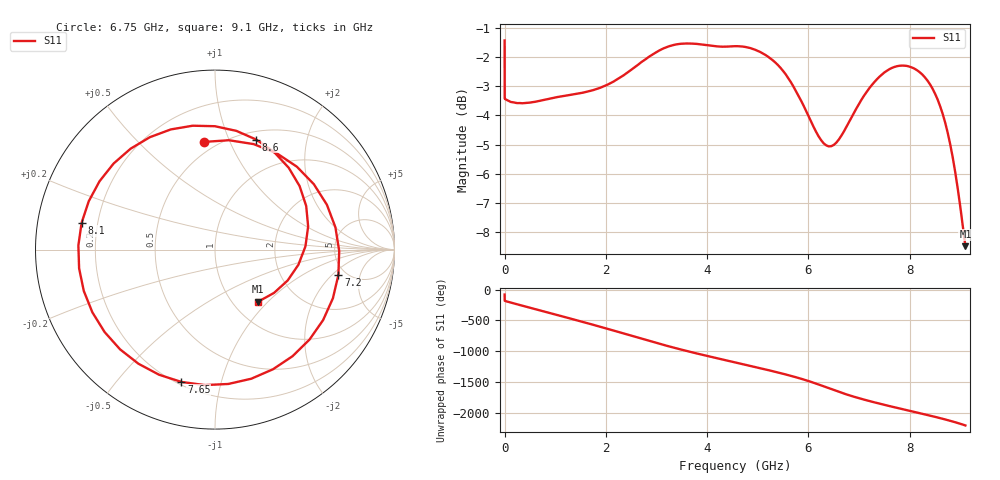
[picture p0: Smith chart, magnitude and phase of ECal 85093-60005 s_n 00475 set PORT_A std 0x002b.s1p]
!Created with skrf (http://scikit-rf.org).
# Hz S RI R 50.0
!freq ReS11 ImS11
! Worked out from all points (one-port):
!   252 points, 30 kHz to 9.1 GHz, reference 50 ohm
!   lowest |S11| = -8.5 dB at 9.1 GHz (marker M1), VSWR 2.21, Z = 65 - j43.9 ohm
!   |S11| at or under -10 dB: nowhere
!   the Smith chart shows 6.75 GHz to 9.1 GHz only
!   S11 on the Smith chart (normalised r, x): 6.75 GHz: 0.43, +0.81; 7.2 GHz: 4.30, -2.41; 7.65 GHz: 0.22, -0.76; 8.1 GHz: 0.14, +0.10; 8.6 GHz: 0.59, +1.27; 9.1 GHz: 1.30, -0.88
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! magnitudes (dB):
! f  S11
! 30 kHz  -1.4
! 58 kHz  -2.5
! 100 kHz  -3.0
! 275 kHz  -3.4
! 6 MHz  -3.4
! 350 MHz  -3.6
! 1.15 GHz  -3.3
! 1.85 GHz  -3.1
! 2.3 GHz  -2.7
! 3.05 GHz  -1.8
! 3.45 GHz  -1.6
! 4.6 GHz  -1.6
! 5.2 GHz  -2.0
! 5.7 GHz  -3.0
! 6.2 GHz  -4.7
! 6.35 GHz  -5.0
! 6.55 GHz  -4.9
! 6.75 GHz  -4.4
! 6.85 GHz  -4.1
! 7.2 GHz  -3.1
! 7.65 GHz  -2.4
! 8 GHz  -2.3
! 8.1 GHz  -2.4
! 8.4 GHz  -2.9
! 8.6 GHz  -3.7
! 8.75 GHz  -4.6
! 8.85 GHz  -5.4
! 9.1 GHz  -8.5
